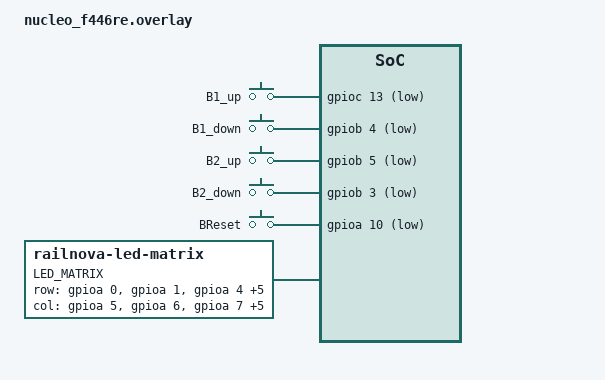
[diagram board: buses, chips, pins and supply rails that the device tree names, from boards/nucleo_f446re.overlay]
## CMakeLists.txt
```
#-------------------------------------------------------------------------------
# Zephyr Example Application
#
# Copyright (c) 2021 Nordic Semiconductor ASA
# SPDX-License-Identifier: Apache-2.0



cmake_minimum_required(VERSION 3.13.1)
find_package(Zephyr REQUIRED HINTS $ENV{ZEPHYR_BASE})

project(app LANGUAGES C VERSION 1.0.0)

target_include_directories(app PRIVATE ${CMAKE_BINARY_DIR}/app/include src)

FILE(GLOB app_sources ${CMAKE_CURRENT_LIST_DIR}/src/*.c)
target_sources(app PRIVATE ${app_sources})
```

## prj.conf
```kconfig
# Copyright (c) 2021 Nordic Semiconductor ASA
# SPDX-License-Identifier: Apache-2.0
#
# This file contains selected Kconfig options for the application.
CONFIG_GPIO=y
CONFIG_RN_LED_MATRIX=y
CONFIG_LOG=y
CONFIG_APP_LOG_LEVEL_DBG=y
CONFIG_SPI=n
CONFIG_I2C=n
```

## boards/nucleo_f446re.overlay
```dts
/ {
    chosen {
        zephyr,console = &usart2;
        zephyr,shell-uart = &usart2;
        zephyr,sram = &sram0;
        zephyr,flash = &flash0;
    };
    gpio_keys {
        compatible = "gpio-keys";
        B1_up:  button_0 {
            label = "B1_up";
            gpios = <&gpioc 13 GPIO_ACTIVE_LOW>;
        };
        B1_down:button_1 {
            label = "B1_down";
            gpios = <&gpiob 4 GPIO_ACTIVE_LOW>;
        };
        B2_up:  button_2 {
            label = "B2_up";
            gpios = <&gpiob 5 GPIO_ACTIVE_LOW>;
        };
        B2_down:button_3 {
            label = "B2_down";
            gpios = <&gpiob 3 GPIO_ACTIVE_LOW>;
        };
        BReset: button_4 {
            label = "BReset";
            gpios = <&gpioa 10 GPIO_ACTIVE_LOW>;
        };
    };
    led_matrix: led_matrix {
        compatible = "zephyr,railnova-led-matrix";
        status = "okay";
        label = "LED_MATRIX";
        rowgpios =  <&gpioa 0 (GPIO_ACTIVE_HIGH)>,
                    <&gpioa 1 (GPIO_ACTIVE_HIGH)>,
                    <&gpioa 4 (GPIO_ACTIVE_HIGH)>,
                    <&gpiob 0 (GPIO_ACTIVE_HIGH)>,
                    <&gpioc 1 (GPIO_ACTIVE_HIGH)>,
                    <&gpioc 0 (GPIO_ACTIVE_HIGH)>,
                    <&gpiob 8 (GPIO_ACTIVE_HIGH)>,
                    <&gpiob 9 (GPIO_ACTIVE_HIGH)>;
        colgpios =  <&gpioa 5 (GPIO_ACTIVE_HIGH)>,
                    <&gpioa 6 (GPIO_ACTIVE_HIGH)>,
                    <&gpioa 7 (GPIO_ACTIVE_HIGH)>,
                    <&gpiob 6 (GPIO_ACTIVE_HIGH)>,
                    <&gpioc 7 (GPIO_ACTIVE_HIGH)>,
                    <&gpioa 9 (GPIO_ACTIVE_HIGH)>,
                    <&gpioa 8 (GPIO_ACTIVE_HIGH)>,
                    <&gpiob 10 (GPIO_ACTIVE_HIGH)>;
    };
};
&i2c1 {
        status = "disabled";
};

&spi1 {
        status = "disabled";
};
```

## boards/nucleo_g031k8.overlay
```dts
/ {
    gpio_keys {
        compatible = "gpio-keys";
        br_up: button_0 {
            label = "B1_up";
            gpios = <&gpioa 7 (GPIO_PULL_UP | GPIO_ACTIVE_LOW)>;
        };
        br_down: button_1 {
            label = "B1_down";
            gpios = <&gpioa 5 (GPIO_PULL_UP | GPIO_ACTIVE_LOW)>;
        };
        bl_up: button_2 {
            label = "B2_up";
            gpios = <&gpioa 11 (GPIO_PULL_UP | GPIO_ACTIVE_LOW)>;
        };
        bl_down: button_3 {
            label = "B2_down";
            gpios = <&gpioa 6 (GPIO_PULL_UP | GPIO_ACTIVE_LOW)>;
        };
        breset: button_4 {
            label = "BReset";
            gpios = <&gpioa 12 (GPIO_PULL_UP | GPIO_ACTIVE_LOW)>;
        };
    };

    led_matrix: led_matrix {
        compatible = "zephyr,railnova-led-matrix";
        status = "okay";
        label = "LED_MATRIX";
        rowgpios =  <&gpiob 4 GPIO_ACTIVE_HIGH>,
                    <&gpiob 5 GPIO_ACTIVE_HIGH>,
                    <&gpiob 9 GPIO_ACTIVE_HIGH>,
                    <&gpioa 8 GPIO_ACTIVE_HIGH>,
                    <&gpiob 8 GPIO_ACTIVE_HIGH>,
                    <&gpiob 2 GPIO_ACTIVE_HIGH>,
                    <&gpiob 0 GPIO_ACTIVE_HIGH>,
                    <&gpioa 9 GPIO_ACTIVE_HIGH>;
        colgpios =  <&gpioa 4 GPIO_ACTIVE_HIGH>,
                    <&gpioa 1 GPIO_ACTIVE_HIGH>,
                    <&gpioa 0 GPIO_ACTIVE_HIGH>,
                    <&gpiob 3 GPIO_ACTIVE_HIGH>,
                    <&gpioa 10 GPIO_ACTIVE_HIGH>,
                    <&gpiob 1 GPIO_ACTIVE_HIGH>,
                    <&gpioa 15 GPIO_ACTIVE_HIGH>,
                    <&gpiob 7 GPIO_ACTIVE_HIGH>;
    };
};

&i2c1 {
        status = "disabled";
};

&spi1 {
        status = "disabled";
};
```

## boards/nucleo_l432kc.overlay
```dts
/ {
    chosen {
        zephyr,console = &usart2;
        zephyr,shell-uart = &usart2;
        zephyr,sram = &sram0;
        zephyr,flash = &flash0;
    };

    gpio_keys {
        compatible = "gpio-keys";
        br_up: button_0 {
            label = "B1_up";
            gpios = <&gpiob 14 (GPIO_PULL_UP | GPIO_ACTIVE_LOW)>;
        };
        br_down: button_1 {
            label = "B1_down";
            gpios = <&gpioa 4 (GPIO_PULL_UP | GPIO_ACTIVE_LOW)>;
        };
        bl_up: button_2 {
            label = "B2_up";
            gpios = <&gpioa 6 (GPIO_PULL_UP | GPIO_ACTIVE_LOW)>;
        };
        bl_down: button_3 {
            label = "B2_down";
            gpios = <&gpioa 7 (GPIO_PULL_UP | GPIO_ACTIVE_LOW)>;
        };
        breset: button_4 {
            label = "BReset";
            gpios = <&gpioa 5 (GPIO_PULL_UP | GPIO_ACTIVE_LOW)>;
        };
    };

    led_matrix: led_matrix {
        compatible = "zephyr,railnova-led-matrix";
        status = "okay";
        label = "LED_MATRIX";
        rowgpios =  <&gpiob 4 GPIO_ACTIVE_HIGH>,
                    <&gpiob 5 GPIO_ACTIVE_HIGH>,
                    <&gpioa 11 GPIO_ACTIVE_HIGH>,
                    <&gpioa 8 GPIO_ACTIVE_HIGH>,
                    <&gpioa 14 GPIO_ACTIVE_HIGH>,
                    <&gpioa 15 GPIO_ACTIVE_HIGH>,
                    <&gpiob 1 GPIO_ACTIVE_HIGH>,
                    <&gpiob 6 GPIO_ACTIVE_HIGH>;
        colgpios =  <&gpioa 3 GPIO_ACTIVE_HIGH>,
                    <&gpioa 1 GPIO_ACTIVE_HIGH>,
                    <&gpioa 0 GPIO_ACTIVE_HIGH>,
                    <&gpiob 3 GPIO_ACTIVE_HIGH>,
                    <&gpiob 7 GPIO_ACTIVE_HIGH>,
                    <&gpiob 0 GPIO_ACTIVE_HIGH>,
                    <&gpioa 12 GPIO_ACTIVE_HIGH>,
                    <&gpioa 10 GPIO_ACTIVE_HIGH>;
    };
};

&i2c1 {
        status = "disabled";
};

&spi1 {
        status = "disabled";
};

&spi3 {
    status = "disabled";
};
```

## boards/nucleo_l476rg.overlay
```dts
/ {
    chosen {
        zephyr,console = &usart2;
        zephyr,shell-uart = &usart2;
        zephyr,sram = &sram0;
        zephyr,flash = &flash0;
    };

    gpio_keys {
        compatible = "gpio-keys";
        br_up:  button_0 {
            label = "B1_up";
            gpios = <&gpioc 9 GPIO_ACTIVE_LOW>;
        };
        br_down:button_1 {
            label = "B1_down";
            gpios = <&gpioc 10 GPIO_ACTIVE_LOW>;
        };
        bl_up:  button_2 {
            label = "B2_up";
            gpios = <&gpioc 11 GPIO_ACTIVE_LOW>;
        };
        bl_down:button_3 {
            label = "B2_down";
            gpios = <&gpioc 12 GPIO_ACTIVE_LOW>;
        };
        breset: button_4 {
            label = "BReset";
            gpios = <&gpioc 8 GPIO_ACTIVE_LOW>;
        };
    };
    led_matrix: led_matrix {
        compatible = "zephyr,railnova-led-matrix";
        status = "okay";
        label = "LED_MATRIX";
        rowgpios =  <&gpioa 0 GPIO_ACTIVE_HIGH>,
                    <&gpioa 1 GPIO_ACTIVE_HIGH>,
                    <&gpioa 4 GPIO_ACTIVE_HIGH>,
                    <&gpiob 0 GPIO_ACTIVE_HIGH>,
                    <&gpioc 1 GPIO_ACTIVE_HIGH>,
                    <&gpioc 0 GPIO_ACTIVE_HIGH>,
                    <&gpiob 8 GPIO_ACTIVE_HIGH>,
                    <&gpiob 9 GPIO_ACTIVE_HIGH>;
        colgpios =  <&gpioa 5 GPIO_ACTIVE_HIGH>,
                    <&gpioa 6 GPIO_ACTIVE_HIGH>,
                    <&gpioa 7 GPIO_ACTIVE_HIGH>,
                    <&gpiob 6 GPIO_ACTIVE_HIGH>,
                    <&gpioc 7 GPIO_ACTIVE_HIGH>,
                    <&gpioa 9 GPIO_ACTIVE_HIGH>,
                    <&gpioa 8 GPIO_ACTIVE_HIGH>,
                    <&gpiob 10 GPIO_ACTIVE_HIGH>;
    };
};
&i2c1 {
        status = "disabled";
};

&spi1 {
        status = "disabled";
};
```

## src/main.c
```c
/**
 * Copyright Railnova 2022
 * Authors : Bultot Geoffrey & Lea Vielfaure
 * Railnova Proprietary Licence
 */

#include <zephyr.h>
#include <logging/log.h>

#include "rn_LED_matrix.h"
#include "rn_pong_game_example.h"

/*
 * This discribe the log level, you can choose between :
 * LOG_LEVEL_NONE, LOG_LEVEL_ERR, LOG_LEVEL_WRN, LOG_LEVEL_INF, LOG_LEVEL_DBG
 * The associated LOG_xxx() message will be printed depending on the level selected. 
 */
LOG_MODULE_REGISTER(main_example, LOG_LEVEL_DBG);

/**
 * @brief Work to perform when player A press one of his buttons. 
 *        This job set up called inside buttons_callback
 */
void cb_button_playerA_pressed(t_cursor_direction direction){
    switch(direction){
        case E_LEFT:
            LOG_DBG("Player A button 1 pressed (going left)");
            if(cursor_playerA.y2 != 1){
                led_matrix_set(cursor_playerA.x, cursor_playerA.y1, 0);
                led_matrix_set(cursor_playerA.x, cursor_playerA.y2, 0);
                cursor_playerA.y2 = cursor_playerA.y1;
                cursor_playerA.y1--;
            }  
            break;

        case E_RIGHT:
            LOG_DBG("Player A button 2 pressed (going right)");
            if(cursor_playerA.y1 != 6){
                led_matrix_set(cursor_playerA.x, cursor_playerA.y1, 0);
                led_matrix_set(cursor_playerA.x, cursor_playerA.y2, 0);
                cursor_playerA.y1 = cursor_playerA.y2;
                cursor_playerA.y2++;
            }
            break;

        default:
            LOG_DBG("Unknown button pressed for player A");
            break;
    }

    led_matrix_set(cursor_playerA.x, cursor_playerA.y1, 1);
    led_matrix_set(cursor_playerA.x, cursor_playerA.y2, 1);

    return;
}

/**
 * @brief Work to perform when player B press one of his buttons. 
 *        This job set up called inside buttons_callback
 */
void cb_button_playerB_pressed(t_cursor_direction direction){
    switch(direction){
        case E_RIGHT:
            LOG_DBG("Player B button 1 pressed (going right)");
            if(cursor_playerB.y2 != 1){
                led_matrix_set(cursor_playerB.x, cursor_playerB.y1, 0);
                led_matrix_set(cursor_playerB.x, cursor_playerB.y2, 0);
                cursor_playerB.y2 = cursor_playerB.y1;
                cursor_playerB.y1--;
            }
            break;

        case E_LEFT:
            LOG_DBG("Player B button 2 pressed (going left)");
            if(cursor_playerB.y1 != 6){
                led_matrix_set(cursor_playerB.x, cursor_playerB.y1, 0);
                led_matrix_set(cursor_playerB.x, cursor_playerB.y2, 0);
                cursor_playerB.y1 = cursor_playerB.y2;
                cursor_playerB.y2++;
            }
            break;

        default:
            LOG_DBG("Unknown button pressed for player B");
            break;
    }

    led_matrix_set(cursor_playerB.x, cursor_playerB.y1, 1);
    led_matrix_set(cursor_playerB.x, cursor_playerB.y2, 1);

    return;
}

/**
 * @brief Work to perform when the reset button is pressed. 
 *        This job set up called inside buttons_callback
 */
void cb_button_reset_pressed(){
    LOG_DBG("Reset button pressed");
    reset_game();
    return;
}


void main(void)
{    
    game_ongoing = false;
    led_matrix_and_buttons_init();

    speed = 400;

    reset_game();
    LOG_INF("Score = %i - %i", score.playerA, score.playerB);
    k_sleep(K_SECONDS(1));
    
    while(true){
        pong_game();
        k_sleep(K_MSEC(speed));
    }
}
```

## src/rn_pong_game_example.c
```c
/**
 * Copyright Railnova 2022
 * Authors : Bultot Geoffrey & Lea Vielfaure
 * Railnova Proprietary Licence
 */

#include <zephyr.h>
#include <logging/log.h>
#include <stdlib.h>

#include "rn_LED_matrix.h"
#include "rn_pong_game_example.h"


LOG_MODULE_REGISTER(rn_pong_game, LOG_LEVEL_DBG);

struct score score;
struct cursor_coordinate cursor_playerA;
struct cursor_coordinate cursor_playerB;
struct ball_coordinate ball;

bool game_ongoing;

#define MAX_NB_ROUND 20



static int set_random_ball_direction(void){
    int dir = rand()%3;
    if(dir == 2){
        dir = -1;
    }
    return dir;
}


/**
 * @brief Start new round. 
 *              - Reset ball position
 *              - Reset cursors position
 */
void start_new_round(void) {

    if(score.playerA > (MAX_NB_ROUND-1) || score.playerB > (MAX_NB_ROUND-1)){
        game_ongoing = false;
        LOG_INF("Game finished, press reset to start again");
        speed = 400;
        return;
    }
    else{
        speed = speed - 10;
    }

    LOG_DBG("Start new round game");
    int i,j;

    // Reset all matrix 
    for(i=0; i<8; i++){
        for(j=0; j<8; j++){
            led_matrix_set(i,j,0);
        }
    }

    // Reset ball position & set direction
    ball.x = 4;
    ball.y = 3;
    ball.x_dir = set_random_ball_direction();
    if(ball.x_dir==0){
        ball.x_dir = -1;
    }
    ball.y_dir = set_random_ball_direction();
    led_matrix_set(ball.x, ball.y, 1);

    // Reset cursor position
    cursor_playerA.x = 7;
    cursor_playerA.y1 = 3;
    cursor_playerA.y2 = (cursor_playerA.y1 + 1);

    cursor_playerB.x = 0;
    cursor_playerB.y1 = cursor_playerA.y1;
    cursor_playerB.y2 = (cursor_playerB.y1 + 1);

    led_matrix_set(cursor_playerA.x, cursor_playerA.y1, 1);
    led_matrix_set(cursor_playerA.x, cursor_playerA.y2, 1);
    led_matrix_set(cursor_playerB.x, cursor_playerB.y1, 1);
    led_matrix_set(cursor_playerB.x, cursor_playerB.y2, 1);

    k_sleep(K_MSEC(100));

    game_ongoing = true;

    return;
}

/**
 * @brief Reset the game: 
 *              - Reset score
 *              - Reset ball position
 *              - Reset cursors position
 */
void reset_game(void) {

    LOG_DBG("Resetting game");

    // Reset score
    score.playerA = 0;
    score.playerB = 0;

    start_new_round();

    return;
}

/**
 * @brief Display the score depending on the number and the position.
 * @param position 
 */
static void get_led_matrix_depending_on_number(bool position, uint8_t number, uint8_t temp_matrix[][8]){

    int i,j;
    uint64_t number_image = 0x00;
    uint8_t bit_pos = 0;

    switch(number){
        case 0:
            number_image = 0x0060909090906000;
            break;

        case 1:
            number_image = 0x002060a020202000;
            break;

        case 2:
            number_image = 0x006090902040f000;
            break;

        case 3:
            number_image = 0x00f020601010e000;
            break;

        case 4:
            number_image = 0x00808080a0f02000;
            break;

        case 5:
            number_image = 0x00f080e01010e000;
            break;

        case 6:
            number_image = 0x007080e090906000;
            break;

        case 7:
            number_image = 0x00f0901020202000;
            break;

        case 8:
            number_image = 0x0060906090906000;
            break;

        case 9:
            number_image = 0x00f090f01010f000;
            break;

        default:
            LOG_ERR("Number is not valid, it should be [0,9]");

    }

    // If we display number on the left
    if(position == LEFT){
        for(i = 0; i < 8; i++){
            bit_pos = bit_pos + 4;
            for(j = 3; j >= 0; j--){
                temp_matrix[i][j] =  (number_image>>bit_pos) & 0x1;
                bit_pos++;
            }
        }
    }

    // If we display number on the right
    else {
        for(i = 0; i < 8; i++){
            bit_pos = bit_pos + 4;
            for(j = 7; j >= 4; j--){
                temp_matrix[i][j] =  (number_image>>bit_pos) & 0x1;
                bit_pos++;
            }
        }
    }

    return;
}


/**
 * @brief Display the score.
 */
void display_score(void) {

    LOG_DBG("Display score");
    int i,j;
    uint8_t matrix_temp[8][8];

    led_matrix_button_irq_state(0);

    // Power on all leds 
    for(i=0; i<8; i++){
        for(j=0; j<8; j++){
            led_matrix_set(i,j,1);
        }
    }

    k_sleep(K_SECONDS(1));

    // Power off all leds 
    for(i=0; i<8; i++){
        for(j=0; j<8; j++){
            led_matrix_set(i,j,0);
        }
    }

    k_sleep(K_SECONDS(1));

    // Display score for player A
    if(score.playerA > 99 || score.playerB > 99) {
        LOG_ERR("Score to high, reset game");
        return;
    }

    // Init marix_temp
    for(i=0; i<8; i++){
        for(j=0; j<8; j++){
            matrix_temp[i][j] = 0;
        }
    }

    uint8_t unit = score.playerA%10;
    uint8_t tens = score.playerA/10;
    get_led_matrix_depending_on_number(LEFT, tens, matrix_temp);
    get_led_matrix_depending_on_number(RIGHT, unit, matrix_temp);

    for(i = 0; i < 8; i++){
        for(j = 0; j < 8; j++){
            led_matrix_set(i, j, matrix_temp[j][i]);
        }
    }

    k_sleep(K_SECONDS(1));
    
    unit = score.playerB%10;
    tens = score.playerB/10;
    get_led_matrix_depending_on_number(LEFT, tens, matrix_temp);
    get_led_matrix_depending_on_number(RIGHT, unit, matrix_temp);

    for(i = 0; i < 8; i++){
        for(j = 0; j < 8; j++){
            led_matrix_set(i, j, matrix_temp[j][i]);
        }
    }

    k_sleep(K_SECONDS(1));

    led_matrix_button_irq_state(1);

    return;
}


/**
 * @brief Game main loop
 */
void pong_game(void) {
    if(game_ongoing)
    {
        bool out_of_lim = false;
        // Ball inside 
        // Collision with limits ? 
        if(ball.y == 0 || ball.y == 7){
            ball.y_dir = -(ball.y_dir);
            out_of_lim = true;
        }

        int ball_next_x = ball.x + ball.x_dir;
        int ball_next_y = ball.y + ball.y_dir;
        // Collision with player A cursor ?
        if(ball_next_x == cursor_playerA.x && (ball_next_y == cursor_playerA.y1 || ball_next_y == cursor_playerA.y2)){
            ball.x_dir = -1;
            if(!out_of_lim){
                ball.y_dir = set_random_ball_direction();
            }
        }
        // Collision with player B cursor ?
        else if(ball_next_x == cursor_playerB.x && (ball_next_y == cursor_playerB.y1 || ball_next_y == cursor_playerB.y2)){
            ball.x_dir = 1;
            if(!out_of_lim){
                ball.y_dir = set_random_ball_direction();
            }
        }

        led_matrix_set(ball.x, ball.y, 0);
        
        ball.x = ball.x + ball.x_dir;
        ball.y = ball.y + ball.y_dir;

        led_matrix_set(ball.x, ball.y, 1);
        
        // Check if ball is outside 
        if(ball.x == 0) {
            score.playerA++;
            LOG_DBG("GOAL FROM PLAYER A");
            game_ongoing = false;
        }
        else if(ball.x == 7) {
            score.playerB++;
            LOG_DBG("GOAL FROM PLAYER B");
            game_ongoing = false;
        }
    }
    else {
        display_score();
        start_new_round();
    }
}
```

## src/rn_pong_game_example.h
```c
/**
 * Copyright Railnova 2022
 * Authors : Bultot Geoffrey & Lea Vielfaure
 * Railnova Proprietary Licence
 */

extern struct score score;
extern struct cursor_coordinate cursor_playerA;
extern struct cursor_coordinate cursor_playerB;
extern struct ball_coordinate ball;

extern bool game_ongoing;

#define RIGHT 0
#define LEFT 1

static int speed;

void pong_game(void);
void reset_game(void);
void display_score(void);
```
